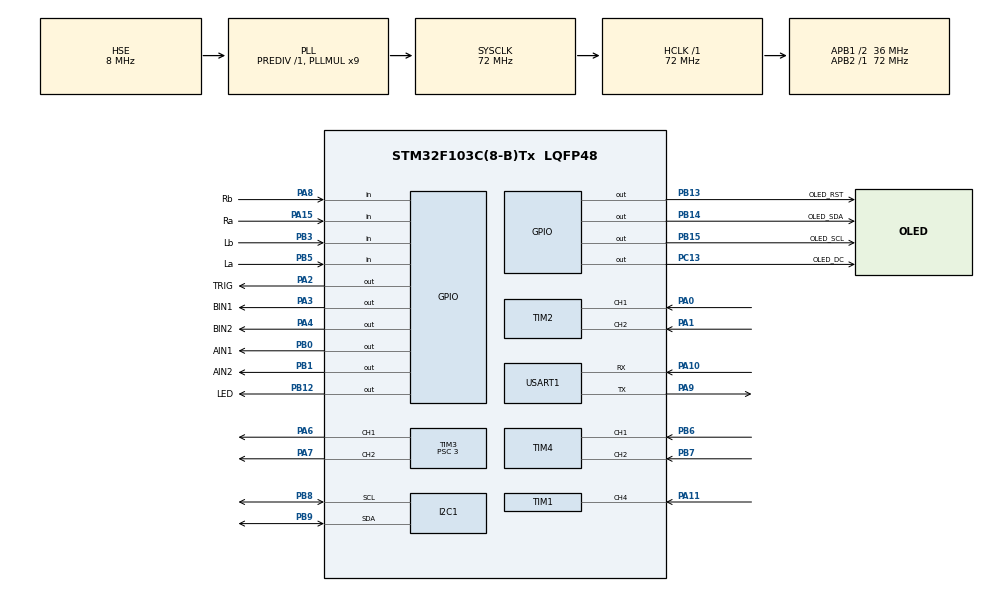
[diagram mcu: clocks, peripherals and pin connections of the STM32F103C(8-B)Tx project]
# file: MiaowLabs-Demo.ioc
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Mcu.Family=STM32F1
Mcu.Name=STM32F103C(8-B)Tx
Mcu.Package=LQFP48
NVIC.PriorityGroup=NVIC_PRIORITYGROUP_4
NVIC.TIM1_CC_IRQn=true\:0\:0\:false\:false\:true\:true\:true
NVIC.TIM1_UP_IRQn=true\:0\:0\:false\:false\:true\:true\:true
NVIC.USART1_IRQn=true\:0\:0\:false\:false\:true\:true\:true
PA0-WKUP.Signal=S_TIM2_CH1_ETR
PA1.Signal=S_TIM2_CH2
PA10.Mode=Asynchronous
PA10.Signal=USART1_RX
PA11.Signal=S_TIM1_CH4
PA13.Mode=Serial_Wire
PA13.Signal=SYS_JTMS-SWDIO
PA14.Mode=Serial_Wire
PA14.Signal=SYS_JTCK-SWCLK
PA15.GPIO_Label=Ra
PA15.GPIO_PuPd=GPIO_PULLUP
PA15.Signal=GPIO_Input
PA2.GPIO_Label=TRIG
PA2.GPIO_Speed=GPIO_SPEED_FREQ_HIGH
PA2.Signal=GPIO_Output
PA3.GPIO_Label=BIN1
PA3.Signal=GPIO_Output
PA4.GPIO_Label=BIN2
PA4.Signal=GPIO_Output
PA6.Signal=S_TIM3_CH1
PA7.Signal=S_TIM3_CH2
PA8.GPIO_Label=Rb
PA8.GPIO_PuPd=GPIO_PULLUP
PA8.Signal=GPIO_Input
PA9.Mode=Asynchronous
PA9.Signal=USART1_TX
PB0.GPIO_Label=AIN1
PB0.Signal=GPIO_Output
PB1.GPIO_Label=AIN2
PB1.Signal=GPIO_Output
PB12.GPIO_Label=LED
PB12.GPIO_Speed=GPIO_SPEED_FREQ_HIGH
PB12.Signal=GPIO_Output
PB13.GPIO_Label=OLED_RST
PB13.Signal=GPIO_Output
PB14.GPIO_Label=OLED_SDA
PB14.Signal=GPIO_Output
PB15.GPIO_Label=OLED_SCL
PB15.Signal=GPIO_Output
PB3.GPIO_Label=Lb
PB3.GPIO_PuPd=GPIO_PULLUP
PB3.Signal=GPIO_Input
PB5.GPIO_Label=La
PB5.GPIO_PuPd=GPIO_PULLUP
PB5.Signal=GPIO_Input
PB6.Signal=S_TIM4_CH1
PB7.Signal=S_TIM4_CH2
PB8.Mode=I2C
PB8.Signal=I2C1_SCL
PB9.Mode=I2C
PB9.Signal=I2C1_SDA
PC13-TAMPER-RTC.GPIO_Label=OLED_DC
PC13-TAMPER-RTC.Signal=GPIO_Output
PC14-OSC32_IN.Mode=LSE-External-Oscillator
PC14-OSC32_IN.Signal=RCC_OSC32_IN
PC15-OSC32_OUT.Mode=LSE-External-Oscillator
PC15-OSC32_OUT.Signal=RCC_OSC32_OUT
PD0-OSC_IN.Mode=HSE-External-Oscillator
PD0-OSC_IN.Signal=RCC_OSC_IN
PD1-OSC_OUT.Mode=HSE-External-Oscillator
PD1-OSC_OUT.Signal=RCC_OSC_OUT
ProjectManager.HeapSize=0x200
ProjectManager.StackSize=0x400
ProjectManager.TargetToolchain=MDK-ARM V5.27
RCC.AHBFreq_Value=72000000
RCC.APB1CLKDivider=RCC_HCLK_DIV2
RCC.APB1Freq_Value=36000000
RCC.APB1TimFreq_Value=72000000
RCC.APB2Freq_Value=72000000
RCC.APB2TimFreq_Value=72000000
RCC.HCLKFreq_Value=72000000
RCC.PLLMUL=RCC_PLL_MUL9
RCC.PLLSourceVirtual=RCC_PLLSOURCE_HSE
RCC.SYSCLKFreq_VALUE=72000000
RCC.SYSCLKSource=RCC_SYSCLKSOURCE_PLLCLK
RCC.USBFreq_Value=72000000
SH.S_TIM1_CH4.0=TIM1_CH4,Input_Capture4_from_TI4
SH.S_TIM2_CH1_ETR.0=TIM2_CH1,Encoder_Interface
SH.S_TIM2_CH2.0=TIM2_CH2,Encoder_Interface
SH.S_TIM3_CH1.0=TIM3_CH1,PWM Generation1 CH1
SH.S_TIM3_CH2.0=TIM3_CH2,PWM Generation2 CH2
SH.S_TIM4_CH1.0=TIM4_CH1,Encoder_Interface
SH.S_TIM4_CH2.0=TIM4_CH2,Encoder_Interface
TIM1.Channel-Input_Capture4_from_TI4=TIM_CHANNEL_4
TIM1.Period=0xFFFF
TIM1.Prescaler=71
TIM2.EncoderMode=TIM_ENCODERMODE_TI12
TIM3.Channel-PWM\ Generation1\ CH1=TIM_CHANNEL_1
TIM3.Channel-PWM\ Generation2\ CH2=TIM_CHANNEL_2
TIM3.Period=1000
TIM3.Prescaler=3
TIM3.Pulse-PWM\ Generation1\ CH1=100
TIM3.Pulse-PWM\ Generation2\ CH2=100
TIM4.EncoderMode=TIM_ENCODERMODE_TI12
USART1.VirtualMode=VM_ASYNC
board=custom

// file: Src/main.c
/* USER CODE BEGIN Header */
/**
  ******************************************************************************
  * @file           : main.c
  * @brief          : Main program body
  ******************************************************************************
  * @attention
  *
  * <h2><center>&copy; Copyright (c) 2021 STMicroelectronics.
  * All rights reserved.</center></h2>
  *
  * This software component is licensed by ST under BSD 3-Clause license,
  * the "License"; You may not use this file except in compliance with the
  * License. You may obtain a copy of the License at:
  *                        opensource.org/licenses/BSD-3-Clause
  *
  ******************************************************************************
  */
/* USER CODE END Header */
#include "main.h"
#include "i2c.h"
#include "tim.h"
#include "usart.h"
#include "gpio.h"

/* USER CODE BEGIN Includes */
#include "encoder.h"
#include "mpu6050.h"
#include "control.h"
#include "outputdata.h"
#include "u8g2.h"
#include "u8x8.h"
#include "oled.h"
/* USER CODE END Includes */

void SystemClock_Config(void);

/* USER CODE BEGIN 0 */
#define INITIAL_SPEED							6
#define START_STAGE								1
#define UNTRUSTWORTHY_ANGLE 			3.0
#define DEBUG_WANT_STAGE_CHANGE		1
#define DEBUG_JUST_TURN						0
#define DEBUG_WAIT_TIME						0

#define TRACE_TURN_BIG_STEP						180//150
#define TRACE_TURN_SMALL_STEP				  80//120
#define TRACE_TURN_FAST_SPEED					5
#define TRACE_TURN_SLOW_SPEED					5
#define TRACE_JITTER_SPEED						5

#define AVOID_NORMAL_SPEED						18		//23 30
#define AVOID_TURN_BIG_STEP 					150		//120 200
#define AVOID_TURN_SMALL_STEP 				-150	//-120 200
#define AVOID_TURN_SPEED							-15		//-6 -33
#define AVOID_REC_PULSE_LEFT 					-1900	//-1900 -1840
#define AVOID_REC_PULSE_RIGHT 				1900	//1900 1840
#define AVOID_DETECTION_DISTANCE 			20		//20 25

#define RECORD_DIST_NUMBER						3
#define TRUST_RECORD_NUMBER						2
#define BALANCE_SPEED						-3

int DEBUG_SLEEP = 0;

unsigned short SoftTimer[10] = {0, 0, 0, 0, 0};

int stage = START_STAGE, flag = 0;
int La = 0, Lb = 0, Ra = 0, Rb = 0;
int state = 0;
int action = 0;
int lastDist[RECORD_DIST_NUMBER];
int DebugDist[RECORD_DIST_NUMBER];

int g_nLeftBiasAvoidance = 0, g_nRightBiasAvoidance = 0, g_nTargetSpeedAvoidance = 0; long g_nTargetPulse = 0, g_nStartPulse = 0;
int g_nLeftBiasTrail = 0, g_nRightBiasTrail = 0, g_nTargetSpeedTrail = 0, g_nLastActivedLaser = 0  , g_nLastActivedLaserCount=0;
double g_nTurnSpeedPercent;

int g_nWantStraight = 0; long g_nStraightMotorPulseActionDelta = 0;

// try to take 90 turn
long ApproachDegree90Delta(long true_delta){
	int SmallRange = 250, BigRange = 300;
	true_delta%=4000;
	if(true_delta>=-BigRange&&true_delta<=BigRange)return 0;
	if(true_delta>=-SmallRange+1000&&true_delta<=SmallRange+1000)return 1000;
	if(true_delta>=-SmallRange+2000&&true_delta<=SmallRange+2000)return 2000;
	if(true_delta>=-SmallRange+3000&&true_delta<=SmallRange+3000)return 3000;
	if(true_delta>=-SmallRange-3000&&true_delta<=SmallRange-3000)return -3000;
	if(true_delta>=-SmallRange-2000&&true_delta<=SmallRange-2000)return -2000;
	if(true_delta>=-SmallRange-1000&&true_delta<=SmallRange-1000)return -1000;
	if(true_delta>=4000-BigRange||true_delta<=-4000+BigRange)return 0;
	return true_delta;
}
void SetWantStraight(){
	g_nWantStraight = 1 ;
	g_nStraightMotorPulseActionDelta = ApproachDegree90Delta(g_lLeftMotorPulseAction - g_lRightMotorPulseAction);
}
void UnsetWantStraight(){
	g_nWantStraight = 0 ;
}
void SoftTimerCountDown(void) {
	char i;
	for (i = 0; i < 10; ++i) {
		if (SoftTimer[i] > 0) SoftTimer[i]--;
	}
}

void SetLeft() {
	//g_lLeftMotorPulseAction = g_lRightMotorPulseAction = 0;
	g_nStartPulse = g_lLeftMotorPulseAction-g_lRightMotorPulseAction;
	g_nTargetPulse = g_nStartPulse + AVOID_REC_PULSE_LEFT;
	action = 1;

	g_nTurnSpeedPercent = 1.0;
	UnsetWantStraight();
}
void TurnLeft() {
	g_nLeftBiasAvoidance = AVOID_TURN_BIG_STEP		*g_nTurnSpeedPercent;
	g_nRightBiasAvoidance = AVOID_TURN_SMALL_STEP	*g_nTurnSpeedPercent;
	g_nTargetSpeedAvoidance = AVOID_TURN_SPEED		*g_nTurnSpeedPercent;
}

void SetRight() {
	g_nStartPulse = g_lLeftMotorPulseAction-g_lRightMotorPulseAction;
	g_nTargetPulse = g_nStartPulse + AVOID_REC_PULSE_RIGHT;
	action = 2;

	g_nTurnSpeedPercent = 1.0;
	UnsetWantStraight();
}

void TurnRight() {
	g_nLeftBiasAvoidance = AVOID_TURN_SMALL_STEP	*g_nTurnSpeedPercent;
	g_nRightBiasAvoidance = AVOID_TURN_BIG_STEP		*g_nTurnSpeedPercent;
	g_nTargetSpeedAvoidance = AVOID_TURN_SPEED		*g_nTurnSpeedPercent;
}

void CheckActionFinished() {
	if (action == 0) return;
	long nowDelta = g_lLeftMotorPulseAction - g_lRightMotorPulseAction;
	double percentage = 0.0;
	if(g_nStartPulse<g_nTargetPulse)
		percentage = 1.0f*(nowDelta-g_nStartPulse)/AVOID_REC_PULSE_LEFT;
	if(g_nStartPulse>g_nTargetPulse)
		percentage = 1.0f*(nowDelta-g_nStartPulse)/AVOID_REC_PULSE_RIGHT;

	if (percentage>=1.0) {
		action = 0;
		state++;
		SetWantStraight();

		//SoftTimer[3]=DEBUG_WAIT_TIME;	DEBUG_SLEEP=1;
		g_nLeftBiasAvoidance = 0, g_nRightBiasAvoidance = 0;
		g_nTargetSpeedAvoidance = 0;

		g_nStartPulse = g_nTargetPulse = 0;

	}else if(percentage>=0.9){
		g_nTurnSpeedPercent = 0.25;
	}
}

void ExecAction() {
	CheckActionFinished();
	if (action == 0) {
		return;
	}
	if (action == 1) {
		TurnLeft();
		return;
	} else if (action == 2) {
		TurnRight();
		return;
	}
}

void StateControl() {
	if (state == 4) state = 0;
	if (state == 0) {
		if (Distance <= AVOID_DETECTION_DISTANCE || DEBUG_JUST_TURN) {
			//SetLeft();

			SetRight();
		}
	} else if (state == 1) {
		if (Distance <= AVOID_DETECTION_DISTANCE || DEBUG_JUST_TURN) {
			//SetRight();

			SetLeft();
		}
	} else if (state == 2) {
		if (Distance <= AVOID_DETECTION_DISTANCE || DEBUG_JUST_TURN) {
			//SetRight();

			SetLeft();
		}
	} else if (state == 3) {
		if (Distance <= AVOID_DETECTION_DISTANCE || DEBUG_JUST_TURN) {
			//SetLeft();

			SetRight();
		}
	}
}

// avoid task
// if no action executing, do state control
void AvoidTask() {
	g_nLeftBiasAvoidance = 0, g_nRightBiasAvoidance = 0;
	g_nTargetSpeedAvoidance = AVOID_NORMAL_SPEED;

	if (!action) StateControl();
	else ExecAction();
}

// trace task
void TraceTask() {
	g_nLeftBiasTrail = 0, g_nRightBiasTrail = 0;
	g_nTargetSpeedTrail = TRACE_TURN_FAST_SPEED;
	if ((La + Lb + Ra + Rb) == 0 ) {
		if(g_nLastActivedLaser==1)
			g_nRightBiasTrail += TRACE_TURN_BIG_STEP, g_nLeftBiasTrail -= TRACE_TURN_BIG_STEP, g_nTargetSpeedTrail = 0;
		if(g_nLastActivedLaser==2)
			g_nRightBiasTrail += TRACE_TURN_SMALL_STEP, g_nLeftBiasTrail -= TRACE_TURN_SMALL_STEP, g_nTargetSpeedTrail = 0;
		if(g_nLastActivedLaser==3)
			g_nLeftBiasTrail += TRACE_TURN_SMALL_STEP, g_nRightBiasTrail -= TRACE_TURN_SMALL_STEP, g_nTargetSpeedTrail = 0;
		if(g_nLastActivedLaser==4)
			g_nLeftBiasTrail += TRACE_TURN_BIG_STEP, g_nRightBiasTrail -= TRACE_TURN_BIG_STEP, g_nTargetSpeedTrail = 0;

		g_nLastActivedLaserCount --;
		if(!g_nLastActivedLaserCount)g_nLastActivedLaser = 0;
	}
	else if ((La + Lb + Ra + Rb) <= 3) {
		if (Lb == 1) g_nRightBiasTrail += TRACE_TURN_BIG_STEP, g_nLeftBiasTrail -= TRACE_TURN_BIG_STEP, g_nTargetSpeedTrail = TRACE_TURN_SLOW_SPEED , 		g_nLastActivedLaser = 1 , g_nLastActivedLaserCount=80;
		if (La == 1) g_nRightBiasTrail += TRACE_TURN_SMALL_STEP, g_nLeftBiasTrail -= TRACE_TURN_SMALL_STEP, g_nTargetSpeedTrail = TRACE_TURN_FAST_SPEED , g_nLastActivedLaser = 2 , g_nLastActivedLaserCount=5;
		if (Ra == 1) g_nLeftBiasTrail += TRACE_TURN_SMALL_STEP, g_nRightBiasTrail -= TRACE_TURN_SMALL_STEP, g_nTargetSpeedTrail = TRACE_TURN_FAST_SPEED , g_nLastActivedLaser = 3 , g_nLastActivedLaserCount=5;
		if (Rb == 1) g_nLeftBiasTrail += TRACE_TURN_BIG_STEP, g_nRightBiasTrail -= TRACE_TURN_BIG_STEP, g_nTargetSpeedTrail = TRACE_TURN_SLOW_SPEED , 		g_nLastActivedLaser = 4 , g_nLastActivedLaserCount=80;
	} else {
		g_nTargetSpeedTrail = TRACE_JITTER_SPEED;
	}
}

void RecordDistance(){
	int temp = lastDist[RECORD_DIST_NUMBER-1];
	if(temp <= 2) temp = 1000;
	ReadDistance();
	if (Distance > 1000 || Distance <= 3) {
		Distance = temp;
	}
	for(int i=0;i<RECORD_DIST_NUMBER-1;i++)
		lastDist[i]=lastDist[i+1];
	lastDist[RECORD_DIST_NUMBER-1]=Distance;									// lastDist: actual records
	if(Distance <= AVOID_DETECTION_DISTANCE){//
		int TEMP_COUNT=0;
		for(int i=0;i<RECORD_DIST_NUMBER;i++)TEMP_COUNT += (lastDist[i]<=AVOID_DETECTION_DISTANCE);
		if(TEMP_COUNT < TRUST_RECORD_NUMBER)
			Distance = 6666,SoftTimer[4]+=23;									// if only TRUST_RECORD_NUMBER-1 in RECORD_DIST_NUMBER actual records  demand  avoidance, just ignore.
		else{
			for(int i=0;i<RECORD_DIST_NUMBER;i++)DebugDist[i]=lastDist[i]<1000?lastDist[i]:0;
			//SoftTimer[3]=30000;
		}
	}
}

void SecTask() {

	g_nLeftBiasAvoidance = g_nRightBiasAvoidance = g_nTargetSpeedAvoidance = 0;
	g_nLeftBiasTrail = g_nRightBiasTrail = g_nTargetSpeedTrail = 0;

	if(DEBUG_WANT_STAGE_CHANGE){
		if ((La + Lb + Ra + Rb) == 4 && g_fCarAngle <= UNTRUSTWORTHY_ANGLE && !flag) {

			stage++; flag = 1;

			if(stage == 1) UnsetWantStraight();
			else if(stage == 2)SetWantStraight();

		} else if ((La + Lb + Ra + Rb) != 4)  flag = 0;
	}
	if(stage==1 && Distance <= AVOID_DETECTION_DISTANCE){			// trick
		stage = 2;
	}

	if (stage == 1) TraceTask();
	else if (stage == 2) AvoidTask();

	g_nLeftBias = g_nLeftBiasAvoidance + g_nLeftBiasTrail;
	g_nRightBias = g_nRightBiasAvoidance + g_nRightBiasTrail;
	g_nTargetSpeed = g_nTargetSpeedAvoidance + g_nTargetSpeedTrail;

	if (stage == 0) g_nTargetSpeed = INITIAL_SPEED;

	g_nTargetSpeed += BALANCE_SPEED;
}

void KeepStraight(){
	// keep straight
	if(g_nWantStraight){
		long nowDelta = g_lLeftMotorPulseAction - g_lRightMotorPulseAction;
		if(nowDelta > g_nStraightMotorPulseActionDelta + 100)
			g_nLeftBias -= 25, g_nRightBias += 25;
		else if(nowDelta < g_nStraightMotorPulseActionDelta - 100)
			g_nLeftBias += 25, g_nRightBias -= 25;
		else if(nowDelta > g_nStraightMotorPulseActionDelta + 30)
			g_nLeftBias -= 15, g_nRightBias += 15;
		else if(nowDelta < g_nStraightMotorPulseActionDelta - 30)
			g_nLeftBias += 15, g_nRightBias -= 15;
		else if(nowDelta > g_nStraightMotorPulseActionDelta + 15)
			g_nLeftBias -= 3, g_nRightBias += 3;
		else if(nowDelta < g_nStraightMotorPulseActionDelta - 15)
			g_nLeftBias += 3, g_nRightBias -= 3;

		if(stage == 1){
			if(nowDelta > g_nStraightMotorPulseActionDelta + 100)
				g_nLeftBias -= 24, g_nRightBias += 24;
			else if(nowDelta < g_nStraightMotorPulseActionDelta - 100)
				g_nLeftBias += 24, g_nRightBias -= 24;
		}
	}
}
/* USER CODE END 0 */

int main(void)
{
  /* USER CODE BEGIN 1 */
	u8g2_t u8g2;
	char cStr[30];
	char cStr2[30];
	int laserCount = 0;

	Distance = 1000;

  /* USER CODE END 1 */

  /* MCU Configuration--------------------------------------------------------*/

  /* Reset of all peripherals, Initializes the Flash interface and the Systick. */
  HAL_Init();

  /* Configure the system clock */
  SystemClock_Config();

  /* Initialize all configured peripherals */
  MX_GPIO_Init();
  MX_USART1_UART_Init();
  MX_TIM4_Init();
  MX_TIM3_Init();
  MX_TIM2_Init();
  MX_I2C1_Init();
  MX_TIM1_Init();
  /* USER CODE BEGIN 2 */
	MPU_Init();
	HAL_TIM_Encoder_Start(&htim2, TIM_CHANNEL_ALL);
	HAL_TIM_Encoder_Start(&htim4, TIM_CHANNEL_ALL);
	HAL_TIM_PWM_Start(&htim3, TIM_CHANNEL_1);
	HAL_TIM_PWM_Start(&htim3, TIM_CHANNEL_2);

	HAL_TIM_IC_Start_IT(&htim1, TIM_CHANNEL_4);
	__HAL_TIM_ENABLE_IT(&htim1, TIM_IT_UPDATE);

	u8g2_Setup_ssd1306_128x64_noname_f(&u8g2, U8G2_R0, u8x8_byte_4wire_sw_spi, u8x8_stm32_gpio_and_delay);
	u8g2_InitDisplay(&u8g2);
	u8g2_SetPowerSave(&u8g2, 0);
	u8g2_SetFont(&u8g2, u8g2_font_4x6_mr);
  /* USER CODE END 2 */

  /* Infinite loop */
  /* USER CODE BEGIN WHILE */

	SetWantStraight();
	for(int i=0;i<RECORD_DIST_NUMBER;i++)
		lastDist[i]=1000, DebugDist[i]=-1;

  while (1)
  {
		if (stage == 3) {
			g_fCarAngleOffset = 2.0;
			g_nTargetSpeed = 40;
			g_nLeftBias = 0;
			g_nRightBias = 0;
			SoftTimer[5] = 3000;
			stage = 4;
		}

		if (SoftTimer[5] == 0 && stage == 4) {
			g_nTargetSpeed = 0;
			g_nLeftBias = 0;
			g_nRightBias = 0;
		}

		if(SoftTimer[4]==0){
			SoftTimer[4]=71;
			RecordDistance();
		}
		if(!DEBUG_SLEEP)
		if(SoftTimer[0] == 0){
			SoftTimer[0] = 5;

			laserCount++;
			if (laserCount == 1) {
				laserCount = 0;
				La = HAL_GPIO_ReadPin(La_GPIO_Port, La_Pin);
				Lb = HAL_GPIO_ReadPin(Lb_GPIO_Port, Lb_Pin);
				Ra = HAL_GPIO_ReadPin(Ra_GPIO_Port, Ra_Pin);
				Rb = HAL_GPIO_ReadPin(Rb_GPIO_Port, Rb_Pin);
			}

			if (SoftTimer[3] == 0) {
				SecTask();
			}else{
				g_nLeftBias = g_nRightBias = g_nTargetSpeed = 0;
			}
			KeepStraight();
		}

		if (SoftTimer[2] == 0) {
			SoftTimer[2] = 20;

			u8g2_ClearBuffer(&u8g2);

			u8g2_DrawStr(&u8g2, 0, 8, "Angle:");
			sprintf(cStr, "%4.1f", g_fCarAngle);
			u8g2_DrawStr(&u8g2, 50, 8, cStr);
//			u8g2_DrawStr(&u8g2, 0, 8, "DebugDist:");
			//sprintf(cStr, "%d %d %d %d %d %d %d %d", DebugDist[0], DebugDist[1], DebugDist[2],DebugDist[3],DebugDist[4],DebugDist[5],DebugDist[6],DebugDist[7]);
//			sprintf(cStr, "%d %d %d %d", DebugDist[0], DebugDist[1], DebugDist[2],DebugDist[3]);
//			u8g2_DrawStr(&u8g2, 0, 16, cStr);

			u8g2_DrawStr(&u8g2, 0, 16, "Laser:");
			sprintf(cStr2, "%d %d %d %d", Lb, La, Ra, Rb);
			u8g2_DrawStr(&u8g2, 50, 16, cStr2);

			u8g2_DrawStr(&u8g2, 0, 30, "Dis/Stage:");
			sprintf(cStr2, "%d %d", Distance, stage);
			u8g2_DrawStr(&u8g2, 50, 30, cStr2);

			u8g2_DrawStr(&u8g2, 0, 45, "Straight:");
			sprintf(cStr2, " %d %d", g_nWantStraight, (int)g_nStraightMotorPulseActionDelta);
			u8g2_DrawStr(&u8g2, 50, 45, cStr2);

			u8g2_DrawStr(&u8g2, 0, 60, "Delta/TarV:");
			sprintf(cStr2, "%d %d", (int)(g_lLeftMotorPulseAction - g_lRightMotorPulseAction), g_nTargetSpeed);
			u8g2_DrawStr(&u8g2, 50, 60, cStr2);

			//u8g2_DrawStr(&u8g2, 0, 60, "Laser:");
			//sprintf(cStr2, "%d %d %d %d", Lb, La, Ra, Rb);
			//u8g2_DrawStr(&u8g2, 50, 60, cStr2);

			u8g2_SendBuffer(&u8g2);
		}

    /* USER CODE END WHILE */

  }
}

void SystemClock_Config(void)
{
  RCC_OscInitTypeDef RCC_OscInitStruct = {0};
  RCC_ClkInitTypeDef RCC_ClkInitStruct = {0};

  /** Initializes the RCC Oscillators according to the specified parameters
  * in the RCC_OscInitTypeDef structure.
  */
  RCC_OscInitStruct.OscillatorType = RCC_OSCILLATORTYPE_HSE;
  RCC_OscInitStruct.HSEState = RCC_HSE_ON;
  RCC_OscInitStruct.HSEPredivValue = RCC_HSE_PREDIV_DIV1;
  RCC_OscInitStruct.HSIState = RCC_HSI_ON;
  RCC_OscInitStruct.PLL.PLLState = RCC_PLL_ON;
  RCC_OscInitStruct.PLL.PLLSource = RCC_PLLSOURCE_HSE;
  RCC_OscInitStruct.PLL.PLLMUL = RCC_PLL_MUL9;
  if (HAL_RCC_OscConfig(&RCC_OscInitStruct) != HAL_OK)
  {
    Error_Handler();
  }
  /** Initializes the CPU, AHB and APB buses clocks
  */
  RCC_ClkInitStruct.ClockType = RCC_CLOCKTYPE_HCLK|RCC_CLOCKTYPE_SYSCLK
                              |RCC_CLOCKTYPE_PCLK1|RCC_CLOCKTYPE_PCLK2;
  RCC_ClkInitStruct.SYSCLKSource = RCC_SYSCLKSOURCE_PLLCLK;
  RCC_ClkInitStruct.AHBCLKDivider = RCC_SYSCLK_DIV1;
  RCC_ClkInitStruct.APB1CLKDivider = RCC_HCLK_DIV2;
  RCC_ClkInitStruct.APB2CLKDivider = RCC_HCLK_DIV1;

  if (HAL_RCC_ClockConfig(&RCC_ClkInitStruct, FLASH_LATENCY_2) != HAL_OK)
  {
    Error_Handler();
  }
}

void Error_Handler(void)
{
  __disable_irq();
  while (1)
  {
  }
}

/************************ (C) COPYRIGHT STMicroelectronics *****END OF FILE****/
